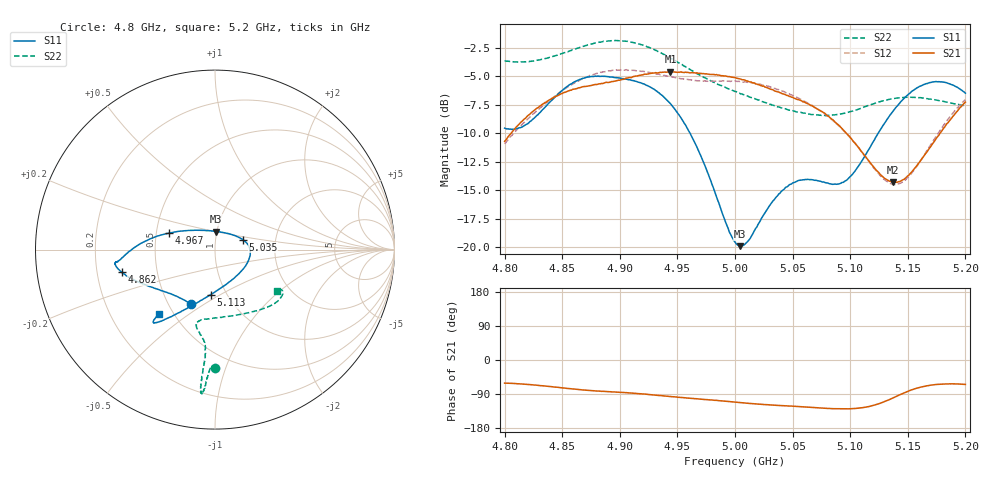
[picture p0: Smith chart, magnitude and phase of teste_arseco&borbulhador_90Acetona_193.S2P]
! Network Analyzer HP8722D
! Hewlett-Packard
! Data name: Linha & Wilkinson
! Saver's name: Rodrigo Anjos
! Comments: Teste da utilização de aquisição
! continua pelo VNA HP8722D
! Time and date: 17/4/2025 12:39
!  Frequency  S11  S21  S12  S22
# HZ  S  MA R 50
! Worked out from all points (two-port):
!   401 points, 4.8 GHz to 5.2 GHz, reference 50 ohm
!   highest |S21| = -4.61 dB at 4.944 GHz (marker M1); lowest = -14.3 dB at 5.137 GHz (marker M2)
!   |S21| within 3 dB of the highest: 4.831 GHz to 5.067 GHz (236.4 MHz wide, 4.78 % of centre); 5.19682 GHz to end of sweep
!   lowest |S11| = -19.9 dB at 5.004 GHz (marker M3), VSWR 1.22, Z = 49.7 + j10.1 ohm
!   |S11| at or under -10 dB: 4.961 GHz to 5.124 GHz (163.3 MHz wide, 3.24 % of centre)
!   |S22| runs from -8.5 to -1.9 dB; largest |S21 - S12| = 0.88
!   S11 on the Smith chart (normalised r, x): 4.8 GHz: 0.64, -0.44; 4.862 GHz: 0.31, -0.11; 4.967 GHz: 0.58, +0.12; 5.035 GHz: 1.35, +0.16; 5.113 GHz: 0.84, -0.45; 5.2 GHz: 0.42, -0.39
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4.8e9  0.3328 -113.9  0.2911 -61.0  0.2838 -175.2  0.6572 -89.9
4.819e9  0.346 -133.9  0.3719 -64.3  0.36 -173.8  0.6508 -91.5
4.862e9  0.5353 -166.3  0.4953 -77.1  0.5308 -177.0  0.742 -93.8
4.867e9  0.5481 -168.3  0.5038 -78.7  0.5457 -177.9  0.7566 -94.0
4.898e9  0.5534 -172.9  0.5382 -84.9  0.5977 175.7  0.8054 -95.4
4.934e9  0.4756 -179.1  0.5826 -93.7  0.5743 171.6  0.7169 -96.0
4.944e9  0.426 176.3  0.5879 -96.3  0.5585 171.8  0.6757 -95.7
4.967e9  0.2744 160.5  0.5817 -102.4  0.5365 173.8  0.5769 -95.3
5e9  0.1053 99.8  0.5543 -111.1  0.5361 176.0  0.4819 -99.4
5.004e9  0.1011 86.1  0.5476 -112.2  0.5331 176.0  0.4733 -100.3
5.012e9  0.1075 60.8  0.5321 -114.5  0.5273 175.9  0.4571 -102.2
5.035e9  0.1641 20.0  0.4831 -119.4  0.4962 174.7  0.4171 -103.6
5.049e9  0.1892 5.7  0.4551 -121.6  0.466 174.0  0.3985 -100.4
5.067e9  0.1977 -13.4  0.4174 -125.0  0.419 173.5  0.3818 -91.1
5.093e9  0.1924 -57.7  0.331 -128.9  0.3294 174.1  0.3848 -70.8
5.113e9  0.2526 -95.5  0.2507 -124.6  0.2499 179.9  0.4134 -55.1
5.134e9  0.3761 -117.0  0.1949 -104.5  0.191 -157.3  0.445 -43.2
5.137e9  0.3938 -118.7  0.1922 -100.5  0.189 -152.6  0.4484 -41.8
5.15e9  0.4656 -124.7  0.2057 -82.7  0.2027 -132.5  0.4546 -36.8
5.17e9  0.5277 -129.4  0.2767 -66.3  0.2818 -112.6  0.4461 -32.1
5.184e9  0.5253 -130.7  0.3486 -63.3  0.3591 -107.3  0.4326 -31.2
5.2e9  0.4736 -131.1  0.4328 -64.5  0.4443 -106.5  0.4165 -33.6
